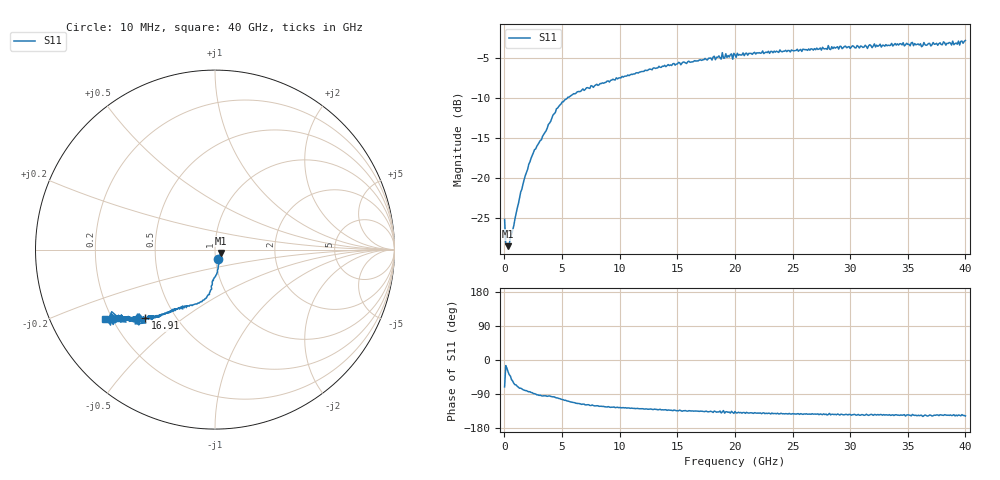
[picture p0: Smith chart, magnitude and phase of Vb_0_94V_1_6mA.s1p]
!Agilent Technologies,N5247A,US51170167,A.09.90.10
!Agilent N5247A: A.09.90.10
!Date: Tuesday, November 22, 2016 15:32:03
!Correction: S22(Full 1 Port(2))
!S1P File: Measurement: S22:
# Hz S  RI  R 50
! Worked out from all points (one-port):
!   401 points, 10 MHz to 40 GHz, reference 50 ohm
!   lowest |S11| = -28.5 dB at 309.9 MHz (marker M1), VSWR 1.08, Z = 53.3 - j2.07 ohm
!   |S11| at or under -10 dB: start of sweep to 5.451 GHz
!   S11 on the Smith chart (normalised r, x): 10 MHz: 1.03, -0.11; 16.91 GHz: 0.34, -0.37; 40 GHz: 0.17, -0.28
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1e7  0.0181 -0.0521
3.09925e8  0.0321 -0.0194
6.0985e8  0.0276 -0.0349
1.6096e9  0.0183 -0.09
2.309425e9  0.0101 -0.1327
2.709325e9  0.000156 -0.1521
3.40915e9  -0.0146 -0.1871
4.308925e9  -0.0309 -0.2502
5.00875e9  -0.0729 -0.2902
5.80855e9  -0.1182 -0.3065
6.908275e9  -0.1578 -0.3158
1.00075e10  -0.2439 -0.3457
1.500625e10  -0.3581 -0.3719
1.690578e10  -0.3907 -0.3819
1.860535e10  -0.4239 -0.3959
1.910522e10  -0.4324 -0.3595
2.0005e10  -0.4229 -0.4116
2.500375e10  -0.4909 -0.3898
3.00025e10  -0.5221 -0.3796
3.100225e10  -0.538 -0.3905
3.190202e10  -0.5282 -0.3837
3.500125e10  -0.5591 -0.3948
3.550112e10  -0.554 -0.3809
3.650088e10  -0.5584 -0.3894
3.80005e10  -0.564 -0.3822
3.92002e10  -0.5736 -0.3968
3.970008e10  -0.582 -0.4205
4e10  -0.6122 -0.3871
